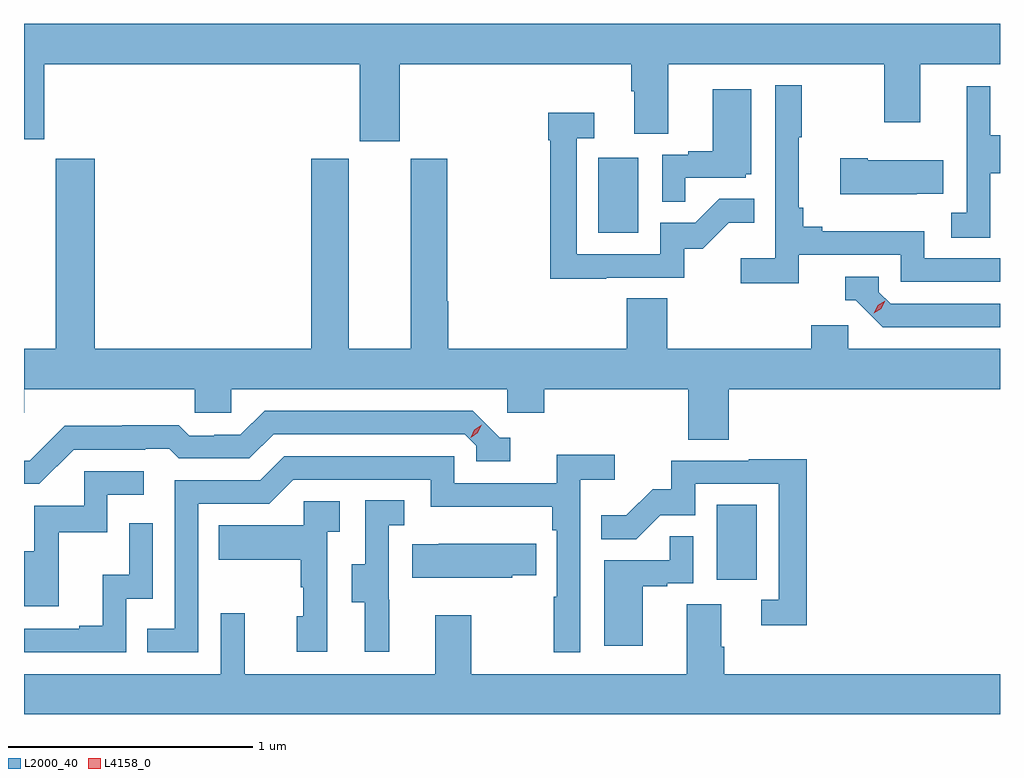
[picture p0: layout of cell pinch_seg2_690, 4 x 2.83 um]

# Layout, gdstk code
import gdstk
lib = gdstk.Library(unit=1e-6, precision=1e-09)
def R(c, l, rs):  # rectangles x0, y0, x1, y1
    for r in rs: c.add(gdstk.rectangle(r[:2], r[2:], *l))
def P(c, l, *ps):  # polygons
    for p in ps: c.add(gdstk.Polygon(p, *l))
L2000_40 = (2000, 40)
L4158_0 = (4158, 0)

pinch_seg2_690 = lib.new_cell('pinch_seg2_690')
R(pinch_seg2_690, L2000_40, [(1118.408,590.91,1118.572,591.217), (1117.922,592.332,1118.086,592.639)])
P(pinch_seg2_690, L2000_40, [(1117.108,593.024),(1118.057,593.024),(1118.057,592.912),(1118.069,592.912),(1118.069,592.738),(1118.209,592.738),(1118.209,593.024),(1119.094,593.024),(1119.094,592.785),(1119.241,592.785),(1119.241,593.024),(1119.568,593.024),(1119.568,593.188),(1115.568,593.188),(1115.568,592.715),(1115.65,592.715),(1115.65,593.024),(1116.944,593.024),(1116.944,592.707),(1117.108,592.707)],
  [(1118.744,592.242),(1119.162,592.242),(1119.162,592.131),(1119.568,592.131),(1119.568,592.227),(1119.258,592.227),(1119.258,592.339),(1118.839,592.339),(1118.839,592.358),(1118.762,592.358),(1118.762,592.435),(1118.743,592.435),(1118.743,592.723),(1118.755,592.723),(1118.755,592.936),(1118.646,592.936),(1118.646,592.228),(1118.505,592.228),(1118.505,592.126),(1118.744,592.126)],
  [(1119.528,592.576),(1119.568,592.576),(1119.568,592.731),(1119.529,592.731),(1119.529,592.933),(1119.431,592.933),(1119.431,592.719),(1119.432,592.719),(1119.432,592.415),(1119.369,592.415),(1119.369,592.312),(1119.528,592.312)],
  [(1118.279,592.557),(1118.526,592.557),(1118.526,592.572),(1118.548,592.572),(1118.548,592.921),(1118.39,592.921),(1118.39,592.666),(1118.291,592.666),(1118.291,592.653),(1118.184,592.653),(1118.184,592.459),(1118.279,592.459)],
  [(1117.955,592.149),(1118.274,592.149),(1118.274,592.266),(1118.35,592.266),(1118.457,592.373),(1118.561,592.373),(1118.561,592.472),(1118.417,592.472),(1118.319,592.374),(1118.175,592.374),(1118.175,592.245),(1117.833,592.245),(1117.833,592.719),(1117.906,592.719),(1117.906,592.825),(1117.717,592.825),(1117.717,592.712),(1117.725,592.712),(1117.725,592.144),(1117.955,592.144)],
  [(1119.227,592.493),(1119.335,592.493),(1119.335,592.63),(1119.025,592.63),(1119.025,592.638),(1118.913,592.638),(1118.913,592.49),(1119.227,592.49)],
  [(1118.456,591.692),(1119.568,591.692),(1119.568,591.856),(1118.946,591.856),(1118.946,591.954),(1118.795,591.954),(1118.795,591.856),(1118.204,591.856),(1118.204,592.064),(1118.039,592.064),(1118.039,591.856),(1117.307,591.856),(1117.307,592.052),(1117.302,592.052),(1117.302,592.635),(1117.154,592.635),(1117.154,591.856),(1116.898,591.856),(1116.898,592.635),(1116.746,592.635),(1116.746,591.856),(1115.858,591.856),(1115.858,592.636),(1115.698,592.636),(1115.698,591.856),(1115.568,591.856),(1115.568,591.594),(1115.57,591.594),(1115.57,591.692),(1116.267,591.692),(1116.267,591.594),(1116.417,591.594),(1116.417,591.692),(1117.548,591.692),(1117.548,591.594),(1117.7,591.594),(1117.7,591.692),(1118.291,591.692),(1118.291,591.484),(1118.456,591.484)],
  [(1119.568,592.041),(1119.12,592.041),(1119.072,592.089),(1119.072,592.152),(1118.933,592.152),(1118.933,592.056),(1118.976,592.056),(1119.087,591.945),(1119.568,591.945)],
  [(1115.772,591.444),(1116.065,591.444),(1116.065,591.447),(1116.164,591.447),(1116.203,591.408),(1116.492,591.408),(1116.591,591.507),(1117.374,591.507),(1117.422,591.459),(1117.422,591.396),(1117.561,591.396),(1117.561,591.492),(1117.518,591.492),(1117.407,591.603),(1116.554,591.603),(1116.455,591.504),(1116.348,591.504),(1116.348,591.501),(1116.245,591.501),(1116.203,591.544),(1115.97,591.544),(1115.97,591.541),(1115.734,591.541),(1115.592,591.399),(1115.568,591.399),(1115.568,591.303),(1115.631,591.303)],
  [(1116.282,591.222),(1116.573,591.222),(1116.672,591.321),(1117.236,591.321),(1117.236,591.209),(1117.732,591.209),(1117.732,591.113),(1117.752,591.113),(1117.752,590.84),(1117.74,590.84),(1117.74,590.613),(1117.848,590.613),(1117.848,591.32),(1117.99,591.32),(1117.99,591.422),(1117.751,591.422),(1117.751,591.306),(1117.332,591.306),(1117.332,591.417),(1116.635,591.417),(1116.536,591.318),(1116.186,591.318),(1116.186,590.709),(1116.073,590.709),(1116.073,590.613),(1116.282,590.613)],
  [(1118.777,591.404),(1118.539,591.404),(1118.539,591.399),(1118.221,591.399),(1118.221,591.282),(1118.144,591.282),(1118.037,591.175),(1117.933,591.175),(1117.933,591.076),(1118.077,591.076),(1118.175,591.174),(1118.319,591.174),(1118.319,591.303),(1118.661,591.303),(1118.661,590.829),(1118.589,590.829),(1118.589,590.724),(1118.777,590.724)],
  [(1115.711,591.105),(1115.91,591.105),(1115.91,591.258),(1116.058,591.258),(1116.058,591.354),(1115.814,591.354),(1115.814,591.213),(1115.609,591.213),(1115.609,591.027),(1115.568,591.027),(1115.568,590.802),(1115.711,590.802)],
  [(1117.064,590.829),(1117.062,590.829),(1117.062,591.133),(1117.126,591.133),(1117.126,591.236),(1116.966,591.236),(1116.966,590.973),(1116.911,590.973),(1116.911,590.818),(1116.965,590.818),(1116.965,590.616),(1117.064,590.616)],
  [(1116.81,591.107),(1116.862,591.107),(1116.862,591.231),(1116.714,591.231),(1116.714,591.133),(1116.367,591.133),(1116.367,590.993),(1116.702,590.993),(1116.702,590.879),(1116.712,590.879),(1116.712,590.76),(1116.686,590.76),(1116.686,590.616),(1116.81,590.616)],
  [(1115.988,590.832),(1116.096,590.832),(1116.096,591.142),(1116,591.142),(1116,590.93),(1115.891,590.93),(1115.891,590.722),(1115.795,590.722),(1115.795,590.709),(1115.568,590.709),(1115.568,590.613),(1115.988,590.613)],
  [(1118.104,590.883),(1118.204,590.883),(1118.204,590.895),(1118.31,590.895),(1118.31,591.089),(1118.215,591.089),(1118.215,590.991),(1117.946,590.991),(1117.946,590.64),(1118.104,590.64)],
  [(1117.569,590.929),(1117.667,590.929),(1117.667,591.058),(1117.267,591.058),(1117.267,591.055),(1117.159,591.055),(1117.159,590.918),(1117.569,590.918)],
  [(1119.568,590.524),(1118.438,590.524),(1118.438,590.636),(1118.425,590.636),(1118.425,590.81),(1118.285,590.81),(1118.285,590.524),(1117.401,590.524),(1117.401,590.764),(1117.253,590.764),(1117.253,590.524),(1116.473,590.524),(1116.473,590.773),(1116.375,590.773),(1116.375,590.524),(1115.568,590.524),(1115.568,590.36),(1119.568,590.36)])
P(pinch_seg2_690, L4158_0, [(1117.398,591.493),(1117.398,591.493),(1117.413,591.526),(1117.443,591.546),(1117.444,591.546),(1117.444,591.546),(1117.428,591.513),(1117.398,591.493)],
  [(1119.05,592.002),(1119.05,592.002),(1119.066,592.035),(1119.097,592.054),(1119.098,592.054),(1119.098,592.053),(1119.081,592.021),(1119.05,592.002)])

lib.write_gds('pinch_seg2_690.gds')
